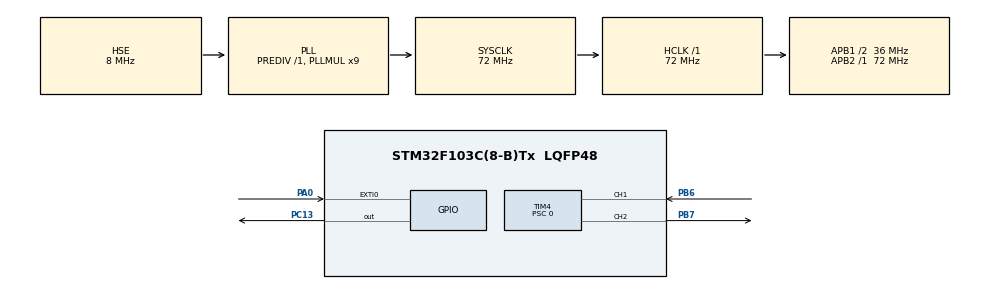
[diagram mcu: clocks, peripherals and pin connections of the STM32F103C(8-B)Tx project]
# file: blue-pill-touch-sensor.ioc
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Dma.Request0=TIM4_CH1
Dma.TIM4_CH1.0.Direction=DMA_PERIPH_TO_MEMORY
Dma.TIM4_CH1.0.Instance=DMA1_Channel1
Dma.TIM4_CH1.0.MemDataAlignment=DMA_MDATAALIGN_HALFWORD
Dma.TIM4_CH1.0.MemInc=DMA_MINC_ENABLE
Dma.TIM4_CH1.0.Mode=DMA_CIRCULAR
Dma.TIM4_CH1.0.PeriphDataAlignment=DMA_PDATAALIGN_HALFWORD
Dma.TIM4_CH1.0.PeriphInc=DMA_PINC_DISABLE
Dma.TIM4_CH1.0.Priority=DMA_PRIORITY_LOW
Mcu.Family=STM32F1
Mcu.Name=STM32F103C(8-B)Tx
Mcu.Package=LQFP48
NVIC.DMA1_Channel1_IRQn=true\:0\:0\:false\:false\:false\:false\:true\:true
NVIC.PriorityGroup=NVIC_PRIORITYGROUP_4
PA0-WKUP.Signal=GPXTI0
PA13.Mode=Serial_Wire
PA13.Signal=SYS_JTMS-SWDIO
PA14.Mode=Serial_Wire
PA14.Signal=SYS_JTCK-SWCLK
PB6.GPIO_PuPd=GPIO_NOPULL
PB6.Signal=S_TIM4_CH1
PB7.GPIO_ModeDefaultPP=GPIO_MODE_AF_OD
PB7.GPIO_Speed=GPIO_SPEED_FREQ_HIGH
PB7.Signal=S_TIM4_CH2
PC13-TAMPER-RTC.Signal=GPIO_Output
PD0-OSC_IN.Mode=HSE-External-Oscillator
PD0-OSC_IN.Signal=RCC_OSC_IN
PD1-OSC_OUT.Mode=HSE-External-Oscillator
PD1-OSC_OUT.Signal=RCC_OSC_OUT
ProjectManager.HeapSize=0x200
ProjectManager.StackSize=0x400
ProjectManager.TargetToolchain=MDK-ARM V5.32
RCC.AHBFreq_Value=72000000
RCC.APB1CLKDivider=RCC_HCLK_DIV2
RCC.APB1Freq_Value=36000000
RCC.APB1TimFreq_Value=72000000
RCC.APB2Freq_Value=72000000
RCC.APB2TimFreq_Value=72000000
RCC.EnbaleCSS=true
RCC.HCLKFreq_Value=72000000
RCC.PLLMUL=RCC_PLL_MUL9
RCC.PLLSourceVirtual=RCC_PLLSOURCE_HSE
RCC.SYSCLKFreq_VALUE=72000000
RCC.SYSCLKSource=RCC_SYSCLKSOURCE_PLLCLK
RCC.USBFreq_Value=48000000
RCC.USBPrescaler=RCC_USBCLKSOURCE_PLL_DIV1_5
SH.S_TIM4_CH1.0=TIM4_CH1,Input_Capture1_from_TI1
SH.S_TIM4_CH1.1=TIM4_CH1,TriggerSource_TI1FP1
SH.S_TIM4_CH2.0=TIM4_CH2,PWM Generation2 CH2
TIM4.Channel-Input_Capture1_from_TI1=TIM_CHANNEL_1
TIM4.Channel-PWM\ Generation2\ CH2=TIM_CHANNEL_2
TIM4.ICFilter_CH1=2
TIM4.ICPolarity_CH1=TIM_INPUTCHANNELPOLARITY_RISING
TIM4.OCPolarity_2=TIM_OCPOLARITY_LOW
TIM4.Prescaler=0
TIM4.TIM_MasterOutputTrigger=TIM_TRGO_OC1REF
TIM4.TIM_MasterSlaveMode=TIM_MASTERSLAVEMODE_DISABLE
VP_TIM4_VS_ClockSourceINT.Mode=Internal
VP_TIM4_VS_ControllerModeReset.Mode=Reset Mode
board=custom

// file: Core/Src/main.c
/* USER CODE BEGIN Header */
/**
  ******************************************************************************
  * @file           : main.c
  * @brief          : Main program body
  ******************************************************************************
  * @attention
  *
  * Copyright (c) 2023 STMicroelectronics.
  * All rights reserved.
  *
  * This software is licensed under terms that can be found in the LICENSE file
  * in the root directory of this software component.
  * If no LICENSE file comes with this software, it is provided AS-IS.
  *
  ******************************************************************************
  */
/* USER CODE END Header */
#include "main.h"

TIM_HandleTypeDef htim4;
DMA_HandleTypeDef hdma_tim4_ch1;

void SystemClock_Config(void);
static void MX_GPIO_Init(void);
static void MX_DMA_Init(void);
static void MX_TIM4_Init(void);

/* USER CODE BEGIN 0 */

//offset in %
#define TRIGGER_OFFSET 1
#define TOUCH_BUFF_SIZE 256
#define TOUCH_CAL_COUNT 64
#define TOUCH_CAL_DELAY 0

uint16_t TouchBuff[TOUCH_BUFF_SIZE];
uint16_t TouchValueReal;
uint16_t TouchValueMin = 0xFFFF;
uint16_t TouchValueMax = 0x0000;
uint16_t TouchValuePercent;
uint16_t TouchTrigger = 0xFFFF;

HAL_StatusTypeDef Debugger;
_Bool TouchDataReadyFlag = 0;

void DMA1_Channel1_IRQHandler(void)
{
  /* USER CODE BEGIN DMA1_Channel1_IRQn 0 */
	TouchDataReadyFlag = 1;
  /* USER CODE END DMA1_Channel1_IRQn 0 */
  HAL_DMA_IRQHandler(&hdma_tim4_ch1);
  /* USER CODE BEGIN DMA1_Channel1_IRQn 1 */

  /* USER CODE END DMA1_Channel1_IRQn 1 */
}

HAL_StatusTypeDef TouchDataWait(uint32_t Timeout)
{
	//reset DMA flag
	TouchDataReadyFlag = 0;
	//wait for DMA flag
	while(TouchDataReadyFlag!=1)
	{
		if(Timeout == 0) return HAL_ERROR;
		HAL_Delay(1);
		Timeout--;
	}
	return HAL_OK;
}

/* USER CODE END 0 */

int main(void)
{

  /* MCU Configuration--------------------------------------------------------*/

  /* Reset of all peripherals, Initializes the Flash interface and the Systick. */
  HAL_Init();

  /* Configure the system clock */
  SystemClock_Config();

  /* Initialize all configured peripherals */
  MX_GPIO_Init();
  MX_DMA_Init();
  MX_TIM4_Init();
  /* USER CODE BEGIN 2 */
	HAL_TIM_IC_Start_DMA(&htim4,TIM_CHANNEL_1,(uint32_t *) TouchBuff, TOUCH_BUFF_SIZE);
	//HAL_TIM_IC_Start(&htim4,TIM_CHANNEL_1);
	HAL_TIM_PWM_Start(&htim4,TIM_CHANNEL_2);
	TIM4->CCR2 = 0x7F;

	//initial calibration
	HAL_GPIO_WritePin(GPIOC,GPIO_PIN_13, GPIO_PIN_SET);
	for(uint32_t n = 0; n<TOUCH_CAL_COUNT; n++)
	{
		int temp = 0;
		//TODO: wait for DMA here
		TouchDataWait(1000);
		//TIM_DMACaptureHalfCplt
		for(uint32_t i = 0; i<TOUCH_BUFF_SIZE; i++)
		{
			temp+=TouchBuff[i];
		}
		temp/=TOUCH_BUFF_SIZE;
		TouchValueReal = temp;
		if(TouchValueReal > TouchValueMax) TouchValueMax = TouchValueReal;
		HAL_Delay(TOUCH_CAL_DELAY);
	}

	TouchTrigger = TouchValueMax + ((TouchValueMax*TRIGGER_OFFSET)/100);
  /* USER CODE END 2 */

  /* Infinite loop */
  /* USER CODE BEGIN WHILE */
  while (1)
  {

		//HAL_Delay(1000);
		//TODO: wait for DMA here
		TouchDataWait(1000);
		int temp = 0;
		for(int i = 0; i<TOUCH_BUFF_SIZE; i++)
		{
			temp+=TouchBuff[i];
		}
		temp/=TOUCH_BUFF_SIZE;
		TouchValueReal = temp;
		if(TouchValueReal > TouchValueMax) TouchValueMax = TouchValueReal;
		if(TouchTrigger > TouchValueReal)
		{
			HAL_GPIO_WritePin(GPIOC,GPIO_PIN_13, GPIO_PIN_RESET);
		}
		else
		{
			HAL_GPIO_WritePin(GPIOC,GPIO_PIN_13, GPIO_PIN_SET);
		}
    /* USER CODE END WHILE */

  }
}

void SystemClock_Config(void)
{
  RCC_OscInitTypeDef RCC_OscInitStruct = {0};
  RCC_ClkInitTypeDef RCC_ClkInitStruct = {0};

  /** Initializes the RCC Oscillators according to the specified parameters
  * in the RCC_OscInitTypeDef structure.
  */
  RCC_OscInitStruct.OscillatorType = RCC_OSCILLATORTYPE_HSE;
  RCC_OscInitStruct.HSEState = RCC_HSE_ON;
  RCC_OscInitStruct.HSEPredivValue = RCC_HSE_PREDIV_DIV1;
  RCC_OscInitStruct.HSIState = RCC_HSI_ON;
  RCC_OscInitStruct.PLL.PLLState = RCC_PLL_ON;
  RCC_OscInitStruct.PLL.PLLSource = RCC_PLLSOURCE_HSE;
  RCC_OscInitStruct.PLL.PLLMUL = RCC_PLL_MUL9;
  if (HAL_RCC_OscConfig(&RCC_OscInitStruct) != HAL_OK)
  {
    Error_Handler();
  }

  /** Initializes the CPU, AHB and APB buses clocks
  */
  RCC_ClkInitStruct.ClockType = RCC_CLOCKTYPE_HCLK|RCC_CLOCKTYPE_SYSCLK
                              |RCC_CLOCKTYPE_PCLK1|RCC_CLOCKTYPE_PCLK2;
  RCC_ClkInitStruct.SYSCLKSource = RCC_SYSCLKSOURCE_PLLCLK;
  RCC_ClkInitStruct.AHBCLKDivider = RCC_SYSCLK_DIV1;
  RCC_ClkInitStruct.APB1CLKDivider = RCC_HCLK_DIV2;
  RCC_ClkInitStruct.APB2CLKDivider = RCC_HCLK_DIV1;

  if (HAL_RCC_ClockConfig(&RCC_ClkInitStruct, FLASH_LATENCY_2) != HAL_OK)
  {
    Error_Handler();
  }

  /** Enables the Clock Security System
  */
  HAL_RCC_EnableCSS();
}

static void MX_TIM4_Init(void)
{

  TIM_ClockConfigTypeDef sClockSourceConfig = {0};
  TIM_SlaveConfigTypeDef sSlaveConfig = {0};
  TIM_MasterConfigTypeDef sMasterConfig = {0};
  TIM_IC_InitTypeDef sConfigIC = {0};
  TIM_OC_InitTypeDef sConfigOC = {0};

  htim4.Instance = TIM4;
  htim4.Init.Prescaler = 0;
  htim4.Init.CounterMode = TIM_COUNTERMODE_UP;
  htim4.Init.Period = 65535;
  htim4.Init.ClockDivision = TIM_CLOCKDIVISION_DIV1;
  htim4.Init.AutoReloadPreload = TIM_AUTORELOAD_PRELOAD_DISABLE;
  if (HAL_TIM_Base_Init(&htim4) != HAL_OK)
  {
    Error_Handler();
  }
  sClockSourceConfig.ClockSource = TIM_CLOCKSOURCE_INTERNAL;
  if (HAL_TIM_ConfigClockSource(&htim4, &sClockSourceConfig) != HAL_OK)
  {
    Error_Handler();
  }
  if (HAL_TIM_IC_Init(&htim4) != HAL_OK)
  {
    Error_Handler();
  }
  if (HAL_TIM_PWM_Init(&htim4) != HAL_OK)
  {
    Error_Handler();
  }
  sSlaveConfig.SlaveMode = TIM_SLAVEMODE_RESET;
  sSlaveConfig.InputTrigger = TIM_TS_TI1FP1;
  sSlaveConfig.TriggerPolarity = TIM_INPUTCHANNELPOLARITY_RISING;
  sSlaveConfig.TriggerFilter = 0;
  if (HAL_TIM_SlaveConfigSynchro(&htim4, &sSlaveConfig) != HAL_OK)
  {
    Error_Handler();
  }
  sMasterConfig.MasterOutputTrigger = TIM_TRGO_OC1REF;
  sMasterConfig.MasterSlaveMode = TIM_MASTERSLAVEMODE_DISABLE;
  if (HAL_TIMEx_MasterConfigSynchronization(&htim4, &sMasterConfig) != HAL_OK)
  {
    Error_Handler();
  }
  sConfigIC.ICPolarity = TIM_INPUTCHANNELPOLARITY_RISING;
  sConfigIC.ICSelection = TIM_ICSELECTION_DIRECTTI;
  sConfigIC.ICPrescaler = TIM_ICPSC_DIV1;
  sConfigIC.ICFilter = 2;
  if (HAL_TIM_IC_ConfigChannel(&htim4, &sConfigIC, TIM_CHANNEL_1) != HAL_OK)
  {
    Error_Handler();
  }
  sConfigOC.OCMode = TIM_OCMODE_PWM1;
  sConfigOC.Pulse = 0;
  sConfigOC.OCPolarity = TIM_OCPOLARITY_LOW;
  sConfigOC.OCFastMode = TIM_OCFAST_DISABLE;
  if (HAL_TIM_PWM_ConfigChannel(&htim4, &sConfigOC, TIM_CHANNEL_2) != HAL_OK)
  {
    Error_Handler();
  }
  HAL_TIM_MspPostInit(&htim4);

}

static void MX_DMA_Init(void)
{

  /* DMA controller clock enable */
  __HAL_RCC_DMA1_CLK_ENABLE();

  /* DMA interrupt init */
  /* DMA1_Channel1_IRQn interrupt configuration */
  HAL_NVIC_SetPriority(DMA1_Channel1_IRQn, 0, 0);
  HAL_NVIC_EnableIRQ(DMA1_Channel1_IRQn);

}

static void MX_GPIO_Init(void)
{
  GPIO_InitTypeDef GPIO_InitStruct = {0};

  /* GPIO Ports Clock Enable */
  __HAL_RCC_GPIOC_CLK_ENABLE();
  __HAL_RCC_GPIOD_CLK_ENABLE();
  __HAL_RCC_GPIOA_CLK_ENABLE();
  __HAL_RCC_GPIOB_CLK_ENABLE();

  /*Configure GPIO pin Output Level */
  HAL_GPIO_WritePin(GPIOC, GPIO_PIN_13, GPIO_PIN_RESET);

  /*Configure GPIO pin : PC13 */
  GPIO_InitStruct.Pin = GPIO_PIN_13;
  GPIO_InitStruct.Mode = GPIO_MODE_OUTPUT_PP;
  GPIO_InitStruct.Pull = GPIO_NOPULL;
  GPIO_InitStruct.Speed = GPIO_SPEED_FREQ_LOW;
  HAL_GPIO_Init(GPIOC, &GPIO_InitStruct);

  /*Configure GPIO pin : PA0 */
  GPIO_InitStruct.Pin = GPIO_PIN_0;
  GPIO_InitStruct.Mode = GPIO_MODE_IT_RISING;
  GPIO_InitStruct.Pull = GPIO_NOPULL;
  HAL_GPIO_Init(GPIOA, &GPIO_InitStruct);

}

void Error_Handler(void)
{
  __disable_irq();
  while (1)
  {
  }
}
